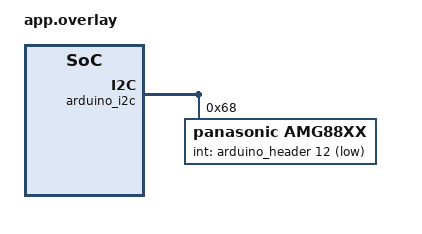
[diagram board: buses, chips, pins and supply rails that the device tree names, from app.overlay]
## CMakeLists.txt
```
# SPDX-License-Identifier: Apache-2.0

cmake_minimum_required(VERSION 3.28.0)
find_package(Zephyr REQUIRED HINTS $ENV{ZEPHYR_BASE})
project(amg88xx)

FILE(GLOB app_sources src/*.c)
target_sources(app PRIVATE ${app_sources})
```

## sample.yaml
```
common:
  tags: sensors
sample:
  description: AMG88XX sensor sample
  name: AMG88XX sample
tests:
  sample.sensor.amg88xx.amg88xx_grid_eye_eval_shield:
    build_only: true
    depends_on:
      - arduino_i2c
      - arduino_gpio
    platform_allow:
      - pan1780_evb
      - pan1770_evb
      - pan1781_evb
      - pan1782_evb
    integration_platforms:
      - pan1780_evb
    extra_args: SHIELD=amg88xx_grid_eye_eval_shield
    extra_configs:
      - CONFIG_AMG88XX_TRIGGER_GLOBAL_THREAD=y
  sample.sensor.amg88xx.amg88xx_eval_kit:
    build_only: true
    depends_on:
      - arduino_i2c
      - arduino_gpio
    platform_exclude:
      - pan1781_evb
      - pan1782_evb
    tags: sensors
    extra_args: SHIELD=amg88xx_eval_kit
    extra_configs:
      - CONFIG_AMG88XX_TRIGGER_GLOBAL_THREAD=y
```

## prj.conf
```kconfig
CONFIG_STDOUT_CONSOLE=y
CONFIG_SENSOR_LOG_LEVEL_INF=y
CONFIG_LOG=y
CONFIG_LOG_BUFFER_SIZE=4096
CONFIG_I2C=y
CONFIG_SENSOR=y

#CONFIG_AMG88XX_TRIGGER_GLOBAL_THREAD=y
#CONFIG_AMG88XX_TRIGGER_OWN_THREAD=y
```

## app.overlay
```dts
/*
 * Copyright (c) 2019 Phytec Messtechnik GmbH
 *
 * SPDX-License-Identifier: Apache-2.0
 */

&arduino_i2c {
	status = "okay";

	amg88xx@68 {
		compatible = "panasonic,amg88xx";
		reg = <0x68>;
		label = "AMG88XX";
		/* Pin D6 from Arduino Connector */
		int-gpios = <&arduino_header 12 (GPIO_ACTIVE_LOW | GPIO_PULL_UP)>;
		status = "okay";
	};
};
```

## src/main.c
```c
/*
 * Copyright (c) 2017 PHYTEC Messtechnik GmbH
 *
 * SPDX-License-Identifier: Apache-2.0
 */

#include <zephyr/kernel.h>
#include <zephyr/device.h>
#include <zephyr/drivers/sensor.h>
#include <zephyr/sys/printk.h>

static struct sensor_value temp_value[64];

#ifdef CONFIG_AMG88XX_TRIGGER
K_SEM_DEFINE(sem, 0, 1);

static void trigger_handler(const struct device *dev,
			    const struct sensor_trigger *trigger)
{
	ARG_UNUSED(dev);
	ARG_UNUSED(trigger);

	k_sem_give(&sem);
}
#endif


void print_buffer(void *ptr, size_t l)
{
	struct sensor_value *tv = ptr;
	int ln = 0;

	printk("---|");
	for (int i = 0; i < 8; i++) {
		printk("  %02d  ", i);
	}
	printk("\n");

	printk("%03d|", ln);
	for (int i = 0; i < l; i++) {
		printk("%05d ", (tv[i].val1 * 100 + tv[i].val2 / 10000));
		if (!((i + 1) % 8)) {
			printk("\n");
			ln++;
			printk("%03d|", ln);
		}
	}
	printk("\n");
}

int main(void)
{
	int ret;
	const struct device *const dev = DEVICE_DT_GET_ONE(panasonic_amg88xx);

	if (!device_is_ready(dev)) {
		printk("sensor: device not ready.\n");
		return 0;
	}

	printk("device: %p, name: %s\n", dev, dev->name);

#ifdef CONFIG_AMG88XX_TRIGGER
	struct sensor_value attr = {
		.val1 = 27,
		.val2 = 0,
	};

	if (sensor_attr_set(dev, SENSOR_CHAN_AMBIENT_TEMP,
			    SENSOR_ATTR_UPPER_THRESH, &attr)) {
		printk("Could not set threshold\n");
		return 0;
	}

	struct sensor_trigger trig = {
		.type = SENSOR_TRIG_THRESHOLD,
		.chan = SENSOR_CHAN_AMBIENT_TEMP,
	};

	if (sensor_trigger_set(dev, &trig, trigger_handler)) {
		printk("Could not set trigger\n");
		return 0;
	}
#endif

	while (42) {
#ifdef CONFIG_AMG88XX_TRIGGER
		printk("Waiting for a threshold event\n");
		k_sem_take(&sem, K_FOREVER);
#endif

		ret = sensor_sample_fetch(dev);
		if (ret) {
			printk("Failed to fetch a sample, %d\n", ret);
			return 0;
		}

		ret = sensor_channel_get(dev, SENSOR_CHAN_AMBIENT_TEMP,
					 (struct sensor_value *)temp_value);
		if (ret) {
			printk("Failed to get sensor values, %d\n", ret);
			return 0;
		}

		printk("new sample:\n");
		print_buffer(temp_value, ARRAY_SIZE(temp_value));

		k_sleep(K_MSEC(1000));
	}
}
```
